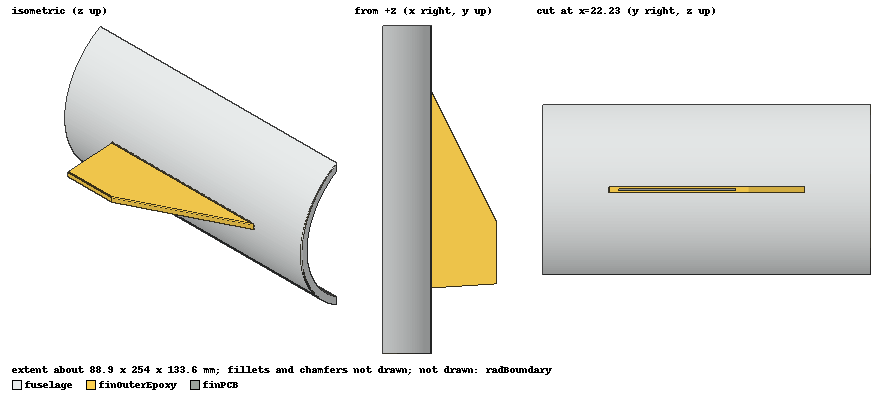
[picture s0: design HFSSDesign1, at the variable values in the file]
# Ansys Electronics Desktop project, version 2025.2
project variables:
  $length = 85mm
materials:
  vacuum: permittivity=1
  aluminum: permeability=1.000021 conductivity=38000000
  FR4_epoxy: permittivity=4.4 dielectric_loss_tangent=0.02
  air: permittivity=1.0006 permeability=1.0000004
  quartz_glass: permittivity=3.78
  cyanate_ester: permittivity=3.8
  copper: permeability=0.999991 conductivity=58000000

design HFSSDesign1 (HFSS, HFSS Terminal Network, model units mm)
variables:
  fuselageOD = 152.4mm
  fuselageLength = 254mm
  fuselageWallThickness = 6.35mm
  finLength = 6in
  substrateHeight = 0.8mm
  finWidth = 2in
  tabLength = 1in
  epoxyThickness = 3.175mm
  copperThickness = 0.035mm
  tipChord = 1.875in
  sweepDistance = 4in
  pcbOffset = 0.25in
  finThickness = 0.1875in
  line_wid = 2mm
  half_len = 51mm
  start_x = 2mm
  start_y = -66mm
  leg_wid = 8.5mm
  top_line_wid = 22mm
  feed_gap = 0.5mm
  bottom_leg_wid = half_len - (feed_gap/2) - line_wid
  line_wid_top = 4mm
  line_wid_bot = 2mm
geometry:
  fuselage [aluminum] = cylinder(axis=Y, base_centre=(-fuselageOD/2, -fuselageLength/2, 0mm), radius=fuselageOD/2, height=fuselageLength, segments=200)
  fuselageInner = cylinder(axis=Y, base_centre=(-fuselageOD/2, -fuselageLength/2, 0mm), radius=fuselageOD/2-fuselageWallThickness, height=fuselageLength, segments=200)
  fuselage.subtract(fuselageInner)
  radBoundary [air] = box(corner=(-fuselageOD/4, -(fuselageLength+30mm)/2, -fuselageOD/2), size=(110mm, fuselageLength+30mm, fuselageOD))
  radBoundary1 = box(corner=(-fuselageOD/4, -(fuselageLength+30mm)/2, -fuselageOD/2), size=(110mm, fuselageLength+30mm, fuselageOD))
  fuselage.intersect(radBoundary1)
  finOuterEpoxy [cyanate_ester] = polyline(z=0mm, xy: (0mm, finLength/2) (0mm, -finLength/2) (finWidth, finLength/2-sweepDistance-tipChord) (finWidth, finLength/2-sweepDistance) (0mm, finLength/2), closed, covered)
  finPCB [FR4_epoxy] = polyline(z=0mm, xy: (0mm, finLength/2-pcbOffset) (0mm, -finLength/2+pcbOffset) (finWidth-pcbOffset, finLength/2-sweepDistance-tipChord+pcbOffset) (finWidth-pcbOffset, finLength/2-sweepDistance) (0mm, finLength/2-pcbOffset), closed, covered)
  finOuterEpoxy.thicken(finThickness, both sides)
  finPCB.thicken(substrateHeight, both sides)
  finOuterEpoxy.chamfer(Edges=finOuterEpoxy.edge(at (50.8, -49.2125, 2.38125), at (25.4, 25.4, 2.38125), at (25.4, 25.4, -2.38125), at (50.8, -49.2125, -2.38125), at (25.4, -74.6125, -2.38125), at (25.4, -74.6125, 2.38125)) LeftDistance=finThickness/2 RightDistance=finThickness/2 ChamferType=Symmetric ChamferAdditionalGeometryInfo{ChamferEdgeGeometryInfo{ChamferEdgeID=5990 ChamferEdgeSense ChamferEdgeStart{X=50.8mm Y=-73.025mm Z=2.38125mm} ChamferEdgeEnd{X=50.8mm Y=-25.4mm Z=2.38125mm} ChamferEdgeMid{X=50.8mm Y=-49.2125mm Z=2.38125mm} ChamferEdgeMidTangent(0, 1, 0)} ChamferEdgeGeometryInfo{ChamferEdgeID=5991 ChamferEdgeSense ChamferEdgeStart{X=0mm Y=-76.2mm Z=2.38125mm} ChamferEdgeEnd{X=50.8mm Y=-73.025mm Z=2.38125mm} ChamferEdgeMid{X=25.4mm Y=-74.6125mm Z=2.38125mm} ChamferEdgeMidTangent(0.99805258, 0.062378286, 0)} ChamferEdgeGeometryInfo{ChamferEdgeID=5993 ChamferEdgeSense ChamferEdgeStart{X=50.8mm Y=-25.4mm Z=2.38125mm} ChamferEdgeEnd{X=0mm Y=76.2mm Z=2.38125mm} ChamferEdgeMid{X=25.4mm Y=25.4mm Z=2.38125mm} ChamferEdgeMidTangent(-0.4472136, 0.89442719, 0)} ChamferEdgeGeometryInfo{ChamferEdgeID=5994 ChamferEdgeSense ChamferEdgeStart{X=50.8mm Y=-73.025mm Z=-2.38125mm} ChamferEdgeEnd{X=50.8mm Y=-25.4mm Z=-2.38125mm} ChamferEdgeMid{X=50.8mm Y=-49.2125mm Z=-2.38125mm} ChamferEdgeMidTangent(0, 1, 0)} ChamferEdgeGeometryInfo{ChamferEdgeID=5995 ChamferEdgeSense ChamferEdgeStart{X=0mm Y=-76.2mm Z=-2.38125mm} ChamferEdgeEnd{X=50.8mm Y=-73.025mm Z=-2.38125mm} ChamferEdgeMid{X=25.4mm Y=-74.6125mm Z=-2.38125mm} ChamferEdgeMidTangent(0.99805258, 0.062378286, 0)} ChamferEdgeGeometryInfo{ChamferEdgeID=5997 ChamferEdgeSense ChamferEdgeStart{X=50.8mm Y=-25.4mm Z=-2.38125mm} ChamferEdgeEnd{X=0mm Y=76.2mm Z=-2.38125mm} ChamferEdgeMid{X=25.4mm Y=25.4mm Z=-2.38125mm} ChamferEdgeMidTangent(-0.4472136, 0.89442719, 0)}})
  epoxyTab = box(corner=(-tabLength-fuselageWallThickness, -finLength/2, -finThickness/2), size=(tabLength+fuselageWallThickness, finLength, finThickness))
  PCBTab [FR4_epoxy] = box(corner=(-tabLength-fuselageWallThickness, -(finLength-2*pcbOffset)/2, -substrateHeight/2), size=(tabLength+fuselageWallThickness, finLength-2*pcbOffset, substrateHeight))
  PCBTab1 = box(corner=(-tabLength-fuselageWallThickness, -(finLength-2*pcbOffset)/2, -(substrateHeight+2*copperThickness)/2), size=(tabLength+fuselageWallThickness, finLength-2*pcbOffset, substrateHeight+2*copperThickness))
  epoxyTab1 = box(corner=(-tabLength-fuselageWallThickness, -finLength/2, -finThickness/2), size=(tabLength+fuselageWallThickness, finLength, finThickness))
  fuselage.subtract(epoxyTab1)
  finPCB1 = polyline(z=0mm, xy: (0mm, finLength/2-pcbOffset) (0mm, -finLength/2+pcbOffset) (finWidth-pcbOffset, finLength/2-sweepDistance-tipChord+pcbOffset) (finWidth-pcbOffset, finLength/2-sweepDistance) (0mm, finLength/2-pcbOffset), closed, covered)
  finPCB1.thicken(substrateHeight+2*copperThickness, both sides)
  PCBTab1.unite(finPCB1)
  finOuterEpoxy.unite(epoxyTab)
  finOuterEpoxy.subtract(PCBTab1)
  l_top_arm [copper] = box(corner=(start_x, start_y+half_len, substrateHeight/2), size=(line_wid_top, half_len, copperThickness))
  l_leg = box(corner=(start_x+ line_wid, start_y+2*half_len, substrateHeight/2), size=(leg_wid, -line_wid, copperThickness))
  l_bottom_arm = box(corner=(start_x + line_wid+leg_wid, start_y+2*half_len, substrateHeight/2), size=(-line_wid_bot, -bottom_leg_wid + feed_gap, copperThickness))
  l_top_arm.unite(l_leg, l_bottom_arm)
  l_top_arm.move(0mm, -2mm, 0mm)
  l_top_arm.rotate(axis=Y, angle=180deg)
  l_top_arm.move(16mm, -2mm, 0.835mm)
  l_top_arm.move(2mm, 2mm, 0mm)
  l_top_arm.move(4mm, 0mm, 0mm)
  l_top_arm.move(0mm, -0.35mm, 0.065mm)
  l_top_arm_1 [copper] = l_top_arm.duplicate_mirror(point=(15mm, -20.85mm, 0.465mm), normal=(0mm, -1mm, 0mm))
  [l_top_arm, l_top_arm_1].move(-5mm, 0mm, 0mm)
  [l_top_arm, l_top_arm_1].move(0.5mm, 3.35mm, 0mm)
  l_top_arm_1.move(0.5mm, 2mm, 0mm)
  l_top_arm.move(0.5mm, -3mm, 0mm)
  Rectangle1 = rectangle(corner=(5.5mm, -20.75mm, 0.5mm), x_size=2mm, y_size=5.5mm)
  l_top_arm.move(0mm, -0.5mm, 7.7715612e-16mm)
  l_top_arm_1.move(0mm, 1.5mm, 7.7715612e-16mm)
  Rectangle1.move(-8.8817842e-16mm, 0.5mm, 1.6098234e-15mm)
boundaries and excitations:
  Rad1: Radiation Objects=radBoundary
  l_top_arm_1_T1: Terminal port=1 Edges=l_top_arm_1.edge(at (6.5, -20.25, 0.5)) TerminalResistance=50ohm
  1: Lumped Port Faces=Rectangle1.face(at (6.5, -17.5, 0.5)) LumpedPortType=Terminal Impedance=50ohm
  reference conductors: l_top_arm
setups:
  Setup1: HfssDriven Frequency=915MHz MaxDeltaS=0.02 MaximumPasses=6 MinimumPasses=1 MinimumConvergedPasses=1 PercentRefinement=30 BasisOrder=1 PortAccuracy=2 DrivenSolverType="Direct Solver"
    sweep Sweep: 450MHz to 1350MHz, 401 points; Type=Interpolating InterpTolerance=0.5 InterpMaxSolns=250 PassivityErrorTolerance=0.0001
  Setup2: HfssDriven Frequency=915MHz MaxDeltaS=0.02 MaximumPasses=6 MinimumPasses=1 MinimumConvergedPasses=1 PercentRefinement=30 BasisOrder=1 PortAccuracy=2 DrivenSolverType="Direct Solver"
    sweep Sweep: 800MHz to 1000MHz, 401 points; Type=Interpolating InterpTolerance=0.5 InterpMaxSolns=250 PassivityErrorTolerance=0.0001
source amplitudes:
  1:1: 1V 0deg
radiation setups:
  Infinite Sphere2: Infinite Sphere Theta=0deg..180deg step 2deg Phi=-180deg..180deg step 2deg
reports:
  Gain Plot1: dB(GainTotal) vs Phi, Theta on Setup1 : LastAdaptive, Infinite Sphere2 [Freq=0.915GHz]
  Realized Gain Plot1: dB(RealizedGainTotal) vs Phi, Theta on Setup1 : LastAdaptive, Infinite Sphere2 [Freq=0.915GHz]
  Terminal S Parameter Plot1: dB(St(l_top_arm_1_T1,l_top_arm_1_T1)) vs Freq on Setup1 : Sweep
  Terminal S Parameter Chart1: St(l_top_arm_1_T1,l_top_arm_1_T1) on Setup1 : Sweep [Freq=all]
